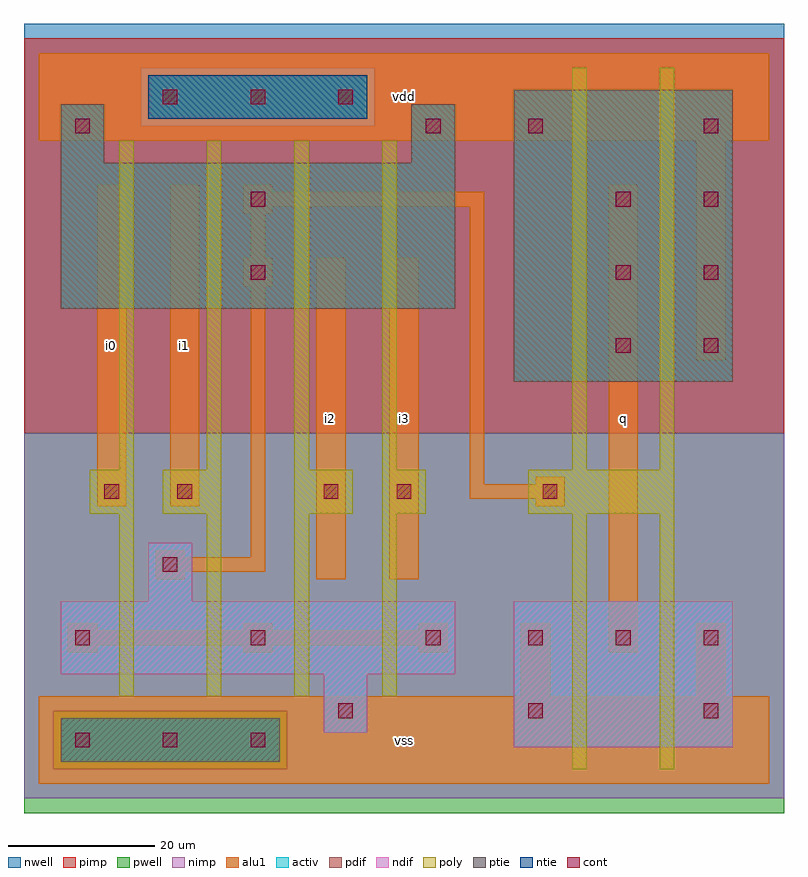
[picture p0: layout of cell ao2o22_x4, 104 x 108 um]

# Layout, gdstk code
import gdstk
lib = gdstk.Library(unit=1e-6, precision=1e-09)
def R(c, l, rs):  # rectangles x0, y0, x1, y1
    for r in rs: c.add(gdstk.rectangle(r[:2], r[2:], *l))
def A(c, l, x, y, w, h, nx, ny, dx, dy):  # array of equal rectangles
    R(c, l, [(x+i*dx, y+j*dy, x+i*dx+w, y+j*dy+h) for i in range(nx) for j in range(ny)])
ndif = (3, 0)
pdif = (4, 0)
ntie = (5, 0)
ptie = (6, 0)
cont = (25, 0)
pwell = (41, 0)
nwell = (42, 0)
activ = (43, 0)
pimp = (44, 0)
nimp = (45, 0)
poly = (46, 0)
alu1 = (49, 0)

ao2o22_x4 = lib.new_cell('ao2o22_x4')
R(ao2o22_x4, ndif, [(65,5,95,25), (39,7,45,15), (3,15,57,25), (15,25,21,33)])
R(ao2o22_x4, pdif, [(65,55,95,95), (3,65,57,85), (3,85,9,93), (51,85,57,93)])
R(ao2o22_x4, ntie, [(15,91,45,97)])
R(ao2o22_x4, ptie, [(3,3,33,9)])
A(ao2o22_x4, cont, 5, 5, 2, 2, 3, 1, 12, 0)
A(ao2o22_x4, cont, 5, 19, 2, 2, 3, 1, 24, 0)
A(ao2o22_x4, cont, 67, 19, 2, 2, 3, 1, 12, 0)
A(ao2o22_x4, cont, 79, 59, 2, 2, 1, 3, 0, 10)
A(ao2o22_x4, cont, 91, 59, 2, 2, 1, 4, 0, 10)
A(ao2o22_x4, cont, 17, 93, 2, 2, 3, 1, 12, 0)
R(ao2o22_x4, cont, [(41,9,43,11), (67,9,69,11), (91,9,93,11), (17,29,19,31), (9,39,11,41), (19,39,21,41), (39,39,41,41), (49,39,51,41), (69,39,71,41), (29,69,31,71), (29,79,31,81), (5,89,7,91), (53,89,55,91), (67,89,69,91)])
R(ao2o22_x4, pwell, [(-2,-4,102,48)])
R(ao2o22_x4, nwell, [(-2,48,102,104)])
R(ao2o22_x4, activ, [(3,3,33,9), (65,5,95,25), (39,7,45,15), (3,15,57,25), (15,25,21,33), (65,55,95,95), (3,65,57,85), (3,85,9,93), (51,85,57,93), (15,91,45,97)])
R(ao2o22_x4, pimp, [(2,2,34,10), (-2,48,102,90), (-2,90,14,98), (46,90,102,98), (-2,98,102,102)])
R(ao2o22_x4, nimp, [(-2,-2,102,2), (-2,2,2,10), (34,2,102,10), (-2,10,102,48), (14,90,46,98)])
A(ao2o22_x4, poly, 11, 12, 2, 25, 4, 1, 12, 0)
A(ao2o22_x4, poly, 11, 43, 2, 45, 4, 1, 12, 0)
R(ao2o22_x4, poly, [(73,2,75,37), (85,2,87,37), (7,37,13,43), (17,37,25,43), (35,37,43,43), (47,37,53,43), (67,37,87,43), (73,43,75,98), (85,43,87,98)])
A(ao2o22_x4, alu1, 4, 18, 4, 1, 3, 2, 24, 3)
R(ao2o22_x4, alu1, [(0,0,100,12), (66,12,70,22), (90,12,94,22), (78,18,82,82), (4,19,56,21), (16,28,20,29), (38,28,42,72), (48,28,52,72), (16,29,31,31), (16,31,20,32), (29,31,31,68), (8,38,12,82), (18,38,22,82), (68,38,72,39), (59,39,72,41), (59,41,61,79), (68,41,72,42), (90,58,94,88), (28,68,32,72), (29,72,31,78), (28,78,32,79), (28,79,61,81), (28,81,32,82), (0,88,100,100)])
ao2o22_x4.add(gdstk.Label('i0', (10,60), layer=49, texttype=0))
ao2o22_x4.add(gdstk.Label('i1', (20,60), layer=49, texttype=0))
ao2o22_x4.add(gdstk.Label('i2', (40,50), layer=49, texttype=0))
ao2o22_x4.add(gdstk.Label('vss', (50,6), layer=49, texttype=0))
ao2o22_x4.add(gdstk.Label('i3', (50,50), layer=49, texttype=0))
ao2o22_x4.add(gdstk.Label('vdd', (50,94), layer=49, texttype=0))
ao2o22_x4.add(gdstk.Label('q', (80,50), layer=49, texttype=0))

lib.write_gds('ao2o22_x4.gds')
